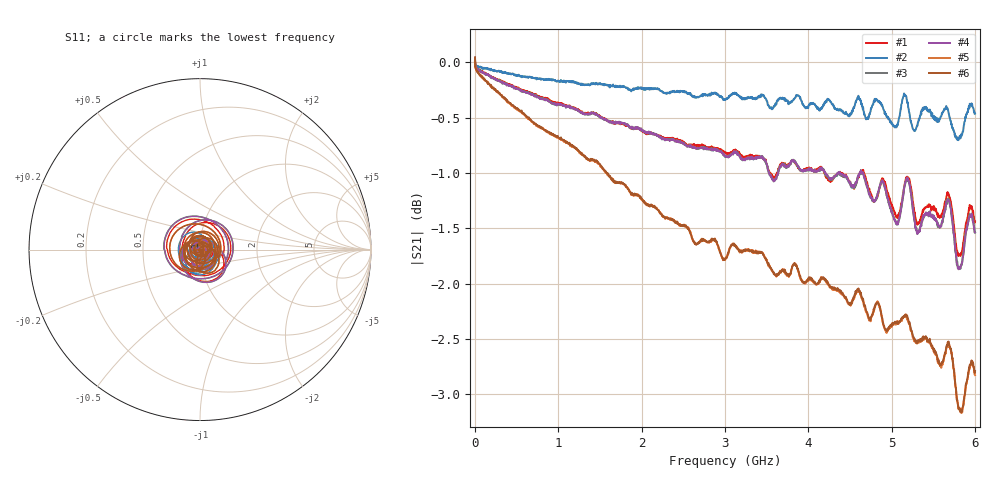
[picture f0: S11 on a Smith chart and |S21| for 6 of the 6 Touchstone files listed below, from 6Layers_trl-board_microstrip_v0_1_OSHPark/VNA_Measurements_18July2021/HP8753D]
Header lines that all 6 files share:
! Touchstone 1.1 file saved by VNA QT V0.2.3.0
! HEWLETT PACKARD,8753D,0,6.14 OPT: 002 006 010
! IF bandwidth: 3000 Hz
! Output power level: 0.000000 dBm
! Smoothing OFF
! Averaging OFF
! Correction ON
! Params: S11 S21 S12 S22
! Start frequency: 0.000030000 GHz
! Stop frequency:  6.000000000 GHz
! Points: 1601
# HZ S DB R 50
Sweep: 30 kHz to 6 GHz
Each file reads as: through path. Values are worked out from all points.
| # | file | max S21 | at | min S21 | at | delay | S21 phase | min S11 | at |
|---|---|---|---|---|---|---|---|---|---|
| 1 | Test1_6Layers_trl-board_microstrip_v0_1_OSHPark_Thru_31mm.s2p | 0.00 dB | 30 kHz | -1.8 dB | 5.801 GHz | 1.69 ns | -22 deg at 3 GHz | -53.0 dB | 3.78 MHz |
| 2 | Test2_CalKit_SN0643_Thru_Reference.s2p | 0.01 dB | 30 kHz | -0.7 dB | 5.801 GHz | 1.48 ns | -156 deg at 3 GHz | -57.5 dB | 3.78 MHz |
| 3 | Test3-1_6Layers_trl-board_microstrip_v0_1_OSHPark_Thru_31mm.s2p | 0.02 dB | 30 kHz | -1.9 dB | 5.824 GHz | 1.69 ns | -22 deg at 3 GHz | -52.6 dB | 3.78 MHz |
| 4 | Test3-2_6Layers_trl-board_microstrip_v0_1_OSHPark_Thru_31mm.s2p | 0.03 dB | 30 kHz | -1.9 dB | 5.805 GHz | 1.69 ns | -22 deg at 3 GHz | -52.6 dB | 3.78 MHz |
| 5 | Test4-1_6Layers_trl-board_microstrip_v0_1_OSHPark_Line_76mm.s2p | 0.04 dB | 30 kHz | -3.2 dB | 5.835 GHz | 1.93 ns | 70 deg at 3 GHz | -49.4 dB | 3.78 MHz |
| 6 | Test4-2_6Layers_trl-board_microstrip_v0_1_OSHPark_Line_76mm.s2p | 0.05 dB | 30 kHz | -3.2 dB | 5.839 GHz | 1.93 ns | 70 deg at 3 GHz | -49.3 dB | 3.78 MHz |
